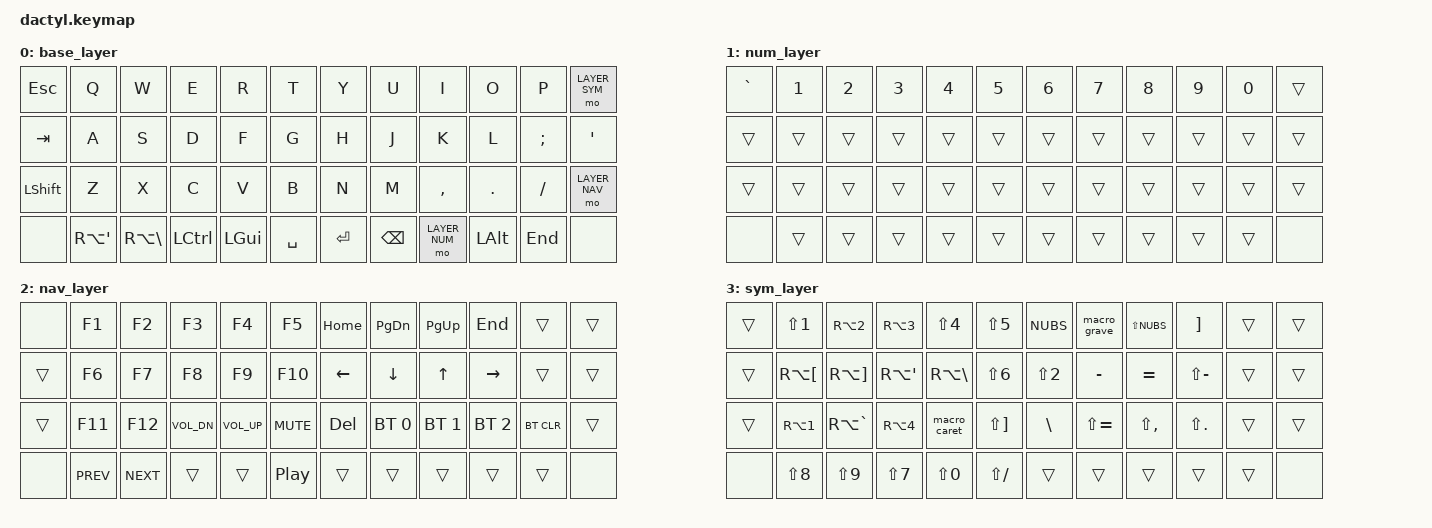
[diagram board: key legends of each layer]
#include <behaviors.dtsi>
#include <dt-bindings/zmk/keys.h>
#include <dt-bindings/zmk/bt.h>

/*
 * Keymap v1.0 for the Dactyl 4x6, see docs/03-keymap.md.
 *
 * The host must use the Spanish (ES) layout: ZMK sends HID positions and the OS
 * decides the character. Symbols that ES only reaches with AltGr are written as
 * RA(...) modifier functions, never as the US keycode of the same name.
 *
 * Layer order: base = 0, num = 1, nav = 2, sym = 3.
 */

#define LAYER_NUM 1
#define LAYER_NAV 2
#define LAYER_SYM 3

/ {
    macros {
        /*
         * ` and ^ are dead keys on the ES layout, so a literal character needs the
         * dead key followed by a space.
         */
        macro_grave: macro_grave {
            compatible = "zmk,behavior-macro";
            #binding-cells = <0>;
            bindings = <&kp LBKT &kp SPACE>;
        };

        macro_caret: macro_caret {
            compatible = "zmk,behavior-macro";
            #binding-cells = <0>;
            bindings = <&kp LS(LBKT) &kp SPACE>;
        };
    };

    keymap {
        compatible = "zmk,keymap";

        base_layer {
            bindings = <
        /* L: ESC   Q     W     E     R     T  */  /* R: Y     U     I     O     P     MO(SYM) */
                &kp ESC   &kp Q      &kp W      &kp E      &kp R      &kp T        &kp Y     &kp U      &kp I       &kp O        &kp P       &mo LAYER_SYM
        /* L: TAB   A     S     D     F     G  */  /* R: H     J     K     L     N-TILDE     ACUTE   */
                &kp TAB   &kp A      &kp S      &kp D      &kp F      &kp G        &kp H     &kp J      &kp K       &kp L        &kp SEMI    &kp SQT
        /* L: LSHFT Z     X     C     V     B  */  /* R: N     M     ,     .     -     MO(NAV)  */
                &kp LSHFT &kp Z      &kp X      &kp C      &kp V      &kp B        &kp N     &kp M      &kp COMMA   &kp DOT      &kp SLASH   &mo LAYER_NAV
        /* L: ----- {     }     LCTRL LGUI  SPACE */ /* R: ENTER BSPC  FN    LALT  END   -----     */
                &none     &kp RA(SQT) &kp RA(BSLH) &kp LCTRL  &kp LGUI   &kp SPACE    &kp ENTER &kp BSPC   &mo LAYER_NUM     &kp LALT     &kp END     &none
            >;
        };

        num_layer {
            bindings = <
        /* L: NUMERAL MASCULINE 1 2 3 4 5  */  /* R: 6     7     8     9     0     ----- */
                &kp GRAVE &kp N1     &kp N2     &kp N3     &kp N4     &kp N5       &kp N6    &kp N7     &kp N8      &kp N9       &kp N0      &trans
                &trans    &trans     &trans     &trans     &trans     &trans       &trans    &trans     &trans      &trans       &trans      &trans
                &trans    &trans     &trans     &trans     &trans     &trans       &trans    &trans     &trans      &trans       &trans      &trans
                &none     &trans     &trans     &trans     &trans     &trans       &trans    &trans     &trans      &trans       &trans      &none
            >;
        };

        nav_layer {
            bindings = <
        /* L: ----- F1  F2  F3   F4   F5  */  /* R: HOME  PGDN  PGUP  END   ----- ----- */
                &none     &kp F1     &kp F2     &kp F3     &kp F4     &kp F5       &kp HOME  &kp PG_DN  &kp PG_UP   &kp END      &trans      &trans
        /* L: ----- F6  F7  F8   F9   F10 */  /* R: LEFT  DOWN  UP    RIGHT ----- ----- */
                &trans    &kp F6     &kp F7     &kp F8     &kp F9     &kp F10      &kp LEFT  &kp DOWN   &kp UP      &kp RIGHT    &trans      &trans
        /* L: ----- F11 F12 VOL- VOL+ MUTE*/  /* R: DEL   ----- ----- ----- ----- ----- */
                &trans    &kp F11    &kp F12    &kp C_VOL_DN &kp C_VOL_UP &kp C_MUTE &kp DEL &bt BT_SEL 0 &bt BT_SEL 1 &bt BT_SEL 2 &bt BT_CLR &trans
        /* L: ----- PREV NEXT ----- ----- PLAY*/ /* R: ----- ----- ----- ----- ----- ----- */
                &none     &kp C_PREV &kp C_NEXT &trans     &trans     &kp C_PP     &trans    &trans     &trans      &trans       &trans      &none
            >;
        };

        sym_layer {
            bindings = <
        /* L: ----- !       @     #     $     %  */  /* R: <       `     >     +     ----- ----- */
                &trans    &kp LS(N1) &kp RA(N2) &kp RA(N3) &kp LS(N4) &kp LS(N5)   &kp NUBS       &macro_grave &kp LS(NUBS)   &kp RBKT &trans &trans
        /* L: ----- [       ]     {     }     &  */  /* R: "       '     !INV  ?     ----- ----- */
                &trans    &kp RA(LBKT) &kp RA(RBKT) &kp RA(SQT) &kp RA(BSLH) &kp LS(N6)   &kp LS(N2) &kp MINUS &kp EQUAL   &kp LS(MINUS) &trans &trans
        /* L: ----- |       \     ~     ^     *  */  /* R: C-CEDILLA ?INV ;   :     ----- ----- */
                &trans    &kp RA(N1) &kp RA(GRAVE) &kp RA(N4) &macro_caret &kp LS(RBKT) &kp BSLH &kp LS(EQUAL) &kp LS(COMMA) &kp LS(DOT) &trans &trans
        /* L: ----- (     )     /     =     _  */  /* R: ----- ----- ----- ----- ----- ----- */
                &none     &kp LS(N8) &kp LS(N9) &kp LS(N7) &kp LS(N0) &kp LS(SLASH) &trans   &trans     &trans      &trans       &trans      &none
            >;
        };
    };
};
